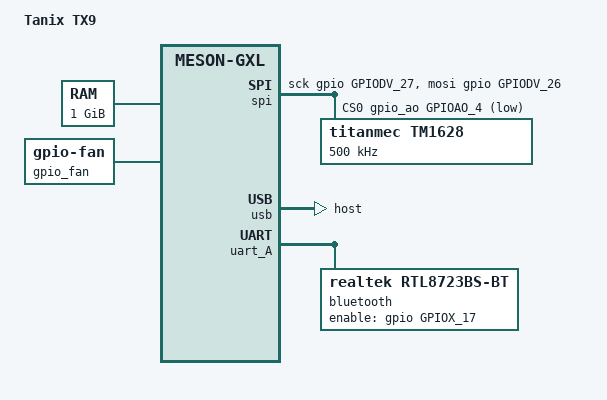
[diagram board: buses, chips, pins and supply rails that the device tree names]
// SPDX-License-Identifier: (GPL-2.0+ OR MIT)
/*
 * Copyright (c) 2018 Martin Blumenstingl <martin.blumenstingl@googlemail.com>.
 * Based on meson-gxl-s905d-p231.dts:
 * - Copyright (c) 2016 Endless Computers, Inc.
 *   Author: Carlo Caione <carlo@endlessm.com>
 */

/dts-v1/;

#include "meson-gxl-s905x.dtsi"
#include "meson-gx-p23x-q20x.dtsi"
#include <dt-bindings/leds/common.h>
#include <dt-bindings/thermal/thermal.h>

/ {
	compatible = "tx9", "amlogic,s905x", "amlogic,meson-gxl";
	model = "Tanix TX9";

	memory@0 {
		device_type = "memory";
		reg = <0x0 0x0 0x0 0x40000000>; /* 1 GiB or 2 GiB */
	};

	thermal-zones {
		cpu-thermal {
			polling-delay-passive = <250>; /* milliseconds */
			polling-delay = <1000>; /* milliseconds */

			thermal-sensors = <&scpi_sensors 0>;

			trips {
				cpu_alert0: cpu-alert0 {
					temperature = <70000>; /* millicelsius */
					hysteresis = <2000>; /* millicelsius */
					type = "active";
				};

				cpu_alert1: cpu-alert1 {
					temperature = <80000>; /* millicelsius */
					hysteresis = <2000>; /* millicelsius */
					type = "passive";
				};
			};

			cooling-maps {
				map0 {
					trip = <&cpu_alert0>;
					cooling-device = <&gpio_fan THERMAL_NO_LIMIT 1>;
				};

				map1 {
					trip = <&cpu_alert1>;
					cooling-device = <&gpio_fan THERMAL_NO_LIMIT 1>;
				};
			};
		};
	};

	gpio_fan: gpio-fan {
		compatible = "gpio-fan";
		/* Dummy RPM values since fan is optional */
		gpio-fan,speed-map = <0 0
				      1 1
				      2 2
				      3 3>;
		#cooling-cells = <2>;
	};

	spi {
		compatible = "spi-gpio";
		sck-gpios = <&gpio GPIODV_27  GPIO_ACTIVE_HIGH>;
		mosi-gpios = <&gpio GPIODV_26 GPIO_ACTIVE_HIGH>;
		cs-gpios = <&gpio_ao GPIOAO_4 GPIO_ACTIVE_LOW>;
		num-chipselects = <1>;
		#address-cells = <1>;
		#size-cells = <0>;

		tm1628: led-controller@0 {
			compatible = "titanmec,tm1628";
			reg = <0>;
			spi-3wire;
			spi-lsb-first;
			spi-rx-delay-us = <1>;
			spi-max-frequency = <500000>;
			#address-cells = <2>;
			#size-cells = <0>;

			titanmec,segment-mapping = /bits/ 8 <4 5 6 1 2 3 7>;
			titanmec,grid = /bits/ 8 <4 3 2 1>;

			alarm@5,1 {
				reg = <5 1>;
				function = LED_FUNCTION_ALARM;
			};

			usb@5,2 {
				reg = <5 2>;
				function = LED_FUNCTION_USB;
			};
			play@5,3 {
				reg = <5 3>;
				function = "play";
			};

			pause@5,4 {
				reg = <5 4>;
				function = "pause";
			};

			colon@5,5 {
				reg = <5 5>;
				function = "colon";
			};

			lan@5,6 {
				reg = <5 6>;
				function = LED_FUNCTION_LAN;
			};

			wlan@5,7 {
				reg = <5 7>;
				function = LED_FUNCTION_WLAN;
			};
		};
	};
	
	openvfd {
		compatible = "open,vfd";
		dev_name = "openvfd";
		status = "okay";
	};
};

&usb {
	dr_mode = "host";
};

/* Connected to the Bluetooth module */
&uart_A {
	status = "okay";
	pinctrl-0 = <&uart_a_pins>, <&uart_a_cts_rts_pins>;
	pinctrl-names = "default";
	uart-has-rtscts;

	bluetooth {
		compatible = "realtek,rtl8723bs-bt";
		enable-gpios = <&gpio GPIOX_17 GPIO_ACTIVE_HIGH>;
		max-speed = <2000000>;
		clocks = <&wifi32k>;
		clock-names = "lpo";
	};
};
